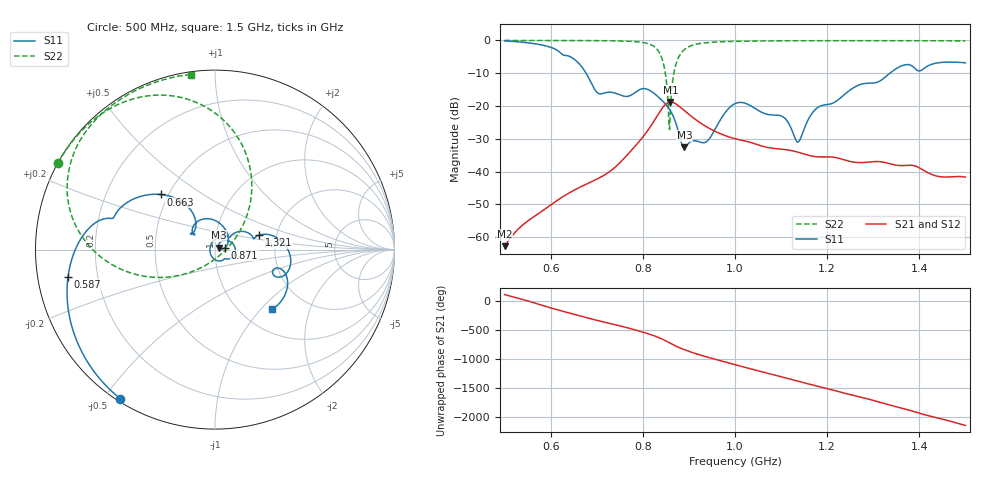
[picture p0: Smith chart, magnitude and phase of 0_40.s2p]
! TOUCHSTONE file generated by CST MICROWAVE STUDIO
! Date and time: Sat Oct 24 11:17:29 2020
! Project name: Scenario_1_Circular_Tissue_in_Line.cst
! Parameters = {L_HA=400; MT=2.54; Rad_Dielectric=30; Rad_Lower=7.3; Rad_Upper=30; a_HA=580; a_WG=246; b_HA=500; b_WG=121; c_HA=0; c_WG=187; d_feed=85; dx1=848.48; h_feed=15; h_lower=18; h_upper=40}
! Header version: 2018
! Port assignment regex: !\s*Touchstone port\s*([0-9]+)\s*=\s*(CST MWS port|CST DS port)\s*([0-9]+|Zmin|Zmax)\s*\(\"(.*)\"\)(\s*mode\s*([0-9]+))?.*
! Touchstone port assignment:
! Touchstone port 1 = CST MWS port 1 ("")
! Touchstone port 2 = CST MWS port 2 ("")
# GHz S DB R 50
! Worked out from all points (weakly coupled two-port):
!   1003 points, 500 MHz to 1.5 GHz, reference 50 ohm
!   highest |S21| = -18.76 dB at 860 MHz (marker M1); lowest = -62.7 dB at 500 MHz (marker M2)
!   lowest |S11| = -32.6 dB at 890 MHz (marker M3), VSWR 1.05, Z = 52.1 + j1.19 ohm
!   |S11| at or under -10 dB: 676.8 MHz to 1.336 GHz (659.3 MHz wide, 65.5 % of centre)
!   |S22| runs from -27.2 to 0.0 dB; largest |S21 - S12| = 0.00071
!   S11 on the Smith chart (normalised r, x): 500 MHz: 0.01, -0.55; 587 MHz: 0.09, -0.09; 663 MHz: 0.45, +0.34; 871 MHz: 1.12, +0.02; 1.321 GHz: 1.62, +0.28; 1.5 GHz: 1.38, -1.14
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0.5  -0.14 -122.5  -62.72 109.5  -62.67 109.5  -0.01 151.1
0.587  -1.59 -169.5  -51.47 -90.6  -51.49 -90.3  -0.02 145.1
0.663  -7.30 134.6  -44.77 101.8  -44.77 101.8  -0.04 138.7
0.667  -7.97 131.2  -44.49 93.2  -44.50 93.3  -0.04 138.3
0.704  -16.19 136.9  -42.01 17.0  -42.02 17.0  -0.07 134.4
0.78  -16.20 143.6  -32.74 -133.0  -32.76 -133.2  -0.33 120.4
0.816  -15.32 97.6  -26.37 141.7  -26.40 141.7  -1.21 102.8
0.834  -17.28 70.9  -22.40 89.2  -22.38 89.1  -3.27 82.8
0.848  -19.23 49.9  -19.67 37.3  -19.67 37.3  -9.36 54.2
0.855  -20.43 38.4  -18.93 7.9  -18.93 8.1  -19.80 22.2
0.86  -21.48 29.8  -18.76 -13.3  -18.76 -13.0  -20.55 -118.2
0.871  -24.91 11.2  -19.29 -57.3  -19.26 -57.0  -7.68 -158.8
0.89  -32.61 29.2  -21.38 -121.4  -21.36 -121.3  -2.82 176.4
0.94  -30.65 47.2  -26.47 110.0  -26.47 110.0  -0.66 151.4
1  -19.27 12.2  -29.95 -18.6  -29.95 -18.6  -0.27 140.2
1.103  -23.19 -66.1  -33.19 126.1  -33.19 126.1  -0.12 129.4
1.136  -30.97 -179.5  -34.04 55.3  -34.04 55.3  -0.11 126.7
1.167  -22.25 72.2  -35.25 -7.0  -35.25 -7.0  -0.10 124.2
1.321  -11.74 18.2  -37.09 36.2  -37.09 36.2  -0.09 112.4
1.334  -10.24 15.9  -37.52 7.4  -37.52 7.4  -0.09 111.4
1.37  -7.41 -8.0  -38.09 -67.3  -38.09 -67.3  -0.09 108.6
1.5  -6.82 -46.1  -41.66 10.8  -41.66 10.8  -0.14 97.9
